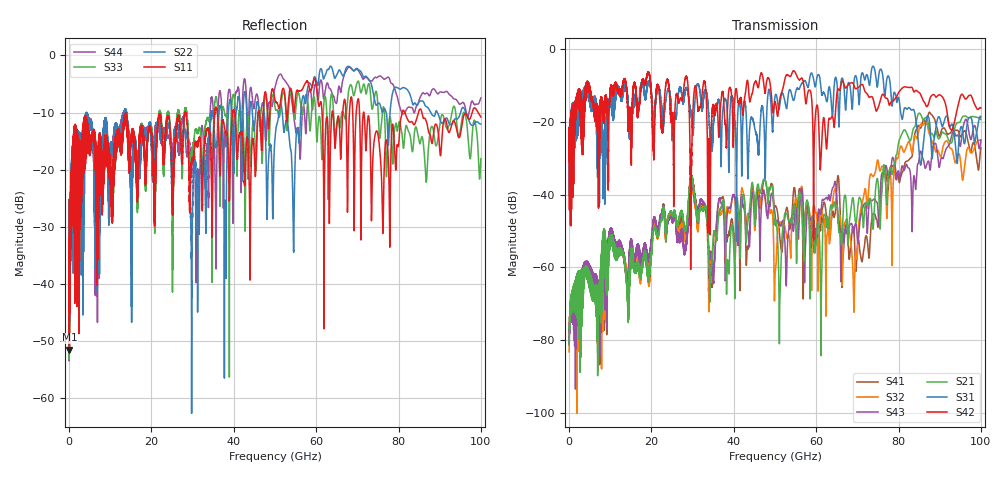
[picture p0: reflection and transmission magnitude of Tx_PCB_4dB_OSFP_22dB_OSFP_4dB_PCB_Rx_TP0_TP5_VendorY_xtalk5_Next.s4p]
! Info: Touchstone file created by Circ.  Input file=Tx_PCB_4dB_OSFP_22dB_OSFP_4dB_PCB_Rx_TP0_TP5_VendorY.circ
# Hz S RI R 50
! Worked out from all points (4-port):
!   10000 points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, 10 MHz to 100 GHz, reference 50 ohm
!   strongest paths, dB at 10 MHz, 25.01 GHz, 50.01 GHz, 75.01 GHz, 100 GHz:
!     S42: -25.1, -19.1, -14.5, -16.2, -16.2
!     S31: -25.1, -22.6, -13.0, -9.2, -18.6
!     S21: -81.4, -45.1, -47.4, -36.4, -19.3
!     S43: -81.1, -47.0, -45.0, -44.1, -25.0
!     S32: -83.2, -46.8, -62.7, -30.6, -25.0
!     S41: -79.9, -45.5, -43.2, -49.0, -27.1
!   lowest |S11| = -51.5 dB at 80 MHz (marker M1), VSWR 1.01, Z = 49.7 - j0.0446 ohm
!   |S11| at or under -10 dB: start of sweep to 28.13 GHz; 71.59 GHz to 80.88 GHz (9.288 GHz wide, 12.2 % of centre); 85.68 GHz to 97.86 GHz (12.18 GHz wide, 13.3 % of centre) (the widest 3 of 21)
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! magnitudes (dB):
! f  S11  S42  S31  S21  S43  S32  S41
! 10 MHz  -25.3  -25.1  -25.1  -81.4  -81.1  -83.2  -79.9
! 80 MHz  -51.5  -25.1  -25.2  -76.4  -76.0  -75.9  -75.6
! 29.73 GHz  -18.9  -32.1  -18.3  -35.1  -36.5  -36.6  -34.9
! 34.52 GHz  -19.7  -22.1  -24.6  -60.2  -55.9  -57.1  -61.8
! 47.41 GHz  -7.1  -10.9  -22.5  -36.1  -39.5  -40.6  -36.0
! 51.16 GHz  -9.0  -13.8  -15.4  -69.8  -48.2  -48.6  -51.6
! 100 GHz  -10.8  -16.2  -18.6  -19.3  -25.0  -25.0  -27.1
